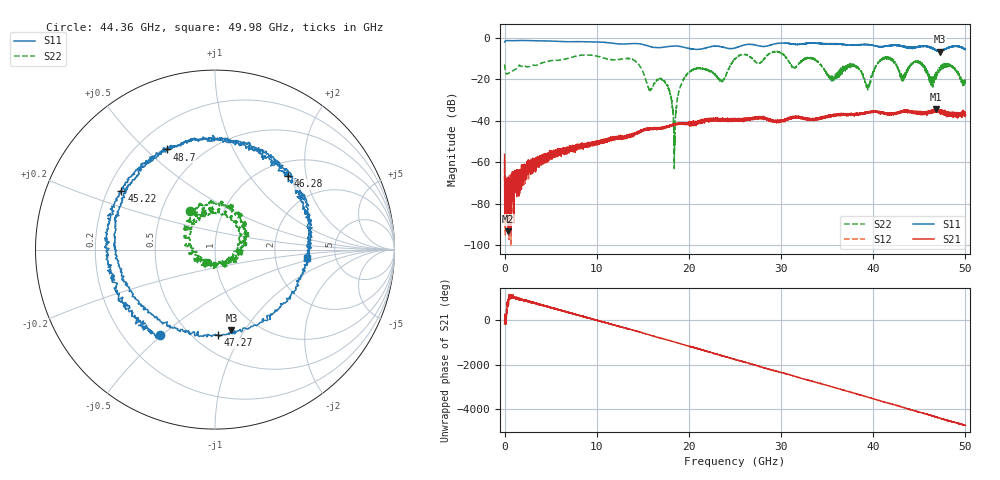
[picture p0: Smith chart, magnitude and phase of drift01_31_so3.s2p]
!Created with skrf (http://scikit-rf.org).
# Hz S RI R 50.0
!freq ReS11 ImS11 ReS21 ImS21 ReS12 ImS12 ReS22 ImS22
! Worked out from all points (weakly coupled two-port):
!   10001 points, 300 kHz to 50 GHz, reference 50 ohm
!   highest |S21| = -34.42 dB at 46.77 GHz (marker M1); lowest = -93.3 dB at 405.3 MHz (marker M2)
!   lowest |S11| = -6.8 dB at 47.21 GHz (marker M3), VSWR 2.70, Z = 38.4 - j43.8 ohm
!   |S11| at or under -10 dB: nowhere
!   |S22| runs from -63.1 to -6.7 dB; largest |S21 - S12| = 0.004
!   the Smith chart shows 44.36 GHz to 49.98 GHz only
!   S11 on the Smith chart (normalised r, x): 44.36 GHz: 0.35, -0.49; 45.22 GHz: 0.26, +0.27; 46.28 GHz: 1.29, +1.57; 47.27 GHz: 0.64, -0.80; 48.7 GHz: 0.32, +0.58; 49.98 GHz: 3.08, -0.39
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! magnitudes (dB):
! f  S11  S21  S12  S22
! 300 kHz  -2.2  -56.2  -58.8  -12.9
! 405.3 MHz  -1.4  -93.3  -72.3  -17.2
! 8.335 GHz  -1.9  -52.5  -51.9  -8.5
! 16.67 GHz  -4.8  -44.0  -43.4  -19.9
! 17.74 GHz  -4.3  -42.6  -42.8  -23.9
! 18.44 GHz  -4.1  -41.9  -41.7  -54.4
! 19.91 GHz  -5.1  -41.6  -41.5  -17.1
! 23.59 GHz  -4.5  -39.7  -39.9  -20.7
! 25 GHz  -5.0  -39.9  -40.1  -10.4
! 33.34 GHz  -2.6  -39.5  -39.6  -9.8
! 39.45 GHz  -3.4  -35.9  -36.2  -24.1
! 41.67 GHz  -3.9  -36.9  -37.1  -10.1
! 43.19 GHz  -4.2  -35.6  -35.5  -19.2
! 44.36 GHz  -4.9  -36.1  -35.9  -11.9
! 45.22 GHz  -4.2  -37.1  -36.2  -12.4
! 46.28 GHz  -4.8  -35.9  -35.7  -21.4
! 46.77 GHz  -6.0  -34.4  -35.4  -18.7
! 47.21 GHz  -6.8  -35.4  -35.6  -14.7
! 47.27 GHz  -6.4  -35.6  -35.3  -15.8
! 48.7 GHz  -4.2  -38.1  -36.9  -14.2
! 49.98 GHz  -5.7  -36.2  -36.2  -21.4
! 50 GHz  -5.6  -37.4  -37.0  -21.6
